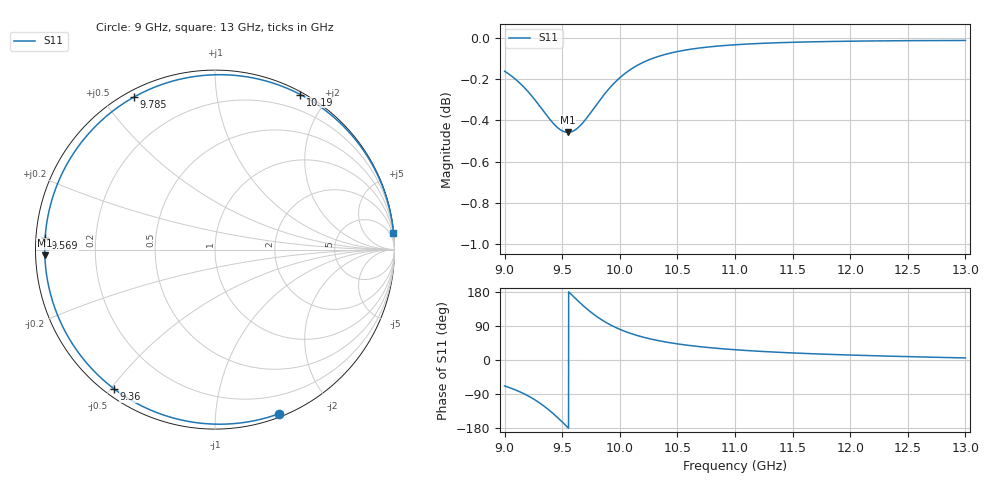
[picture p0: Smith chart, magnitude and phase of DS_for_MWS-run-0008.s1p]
! TOUCHSTONE file generated by CST DESIGN STUDIO
! Date and time: Tue Feb  4 17:56:35 2025
! Project name: C:\Work\MatlabApps\UnitCellOptimizationMatlab\CST\unitcell.cst
! Tree item: Tasks\Sweep1\SPara1\S-Parameters
! Header version: 2024
! Port assignment regex: !\s*Touchstone port\s*([0-9]+)\s*=\s*(CST MWS port|CST DES external port|CST DES block port)\s*(.+)\s* \(\"(.*)\"\)(\s*mode\s*([0-9]+))?.*
! Touchstone port assignment:
! Touchstone port 1 = CST DES external port 1 ("")
# GHz S MA R 50
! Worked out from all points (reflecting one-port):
!   4001 points, 9 GHz to 13 GHz, reference 50 ohm
!   lowest |S11| = -0.5 dB at 9.549 GHz (marker M1), VSWR 37.96, Z = 1.32 - j0.841 ohm
!   phase of S11 starts at -69 deg and turns -286 deg over the sweep
!   S11 on the Smith chart (normalised r, x): 9 GHz: 0.03, -1.47; 9.36 GHz: 0.03, -0.51; 9.569 GHz: 0.03, +0.04; 9.785 GHz: 0.03, +0.60; 10.19 GHz: 0.03, +1.69; 13 GHz: 0, +21
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9  0.9817 -68.6
9.103  0.9768 -80.1
9.214  0.9698 -96.3
9.291  0.9638 -110.6
9.36  0.9582 -125.9
9.427  0.9532 -142.9
9.465  0.9509 -153.4
9.5  0.9495 -163.5
9.549  0.9487 -178.1
9.569  0.9488 175.9
9.624  0.9505 159.7
9.684  0.9541 142.9
9.734  0.9581 129.9
9.785  0.9624 118.0
9.831  0.9663 108.3
9.881  0.9703 99.0
9.936  0.9742 90.0
10  0.9781 81.0
10.092  0.9826 70.3
10.192  0.9862 61.1
10.333  0.9898 51.2
10.5  0.9926 42.6
10.721  0.9948 34.3
11  0.9963 27.1
11.5  0.9977 18.6
12  0.9983 13.1
12.5  0.9986 8.9
13  0.9987 5.5
